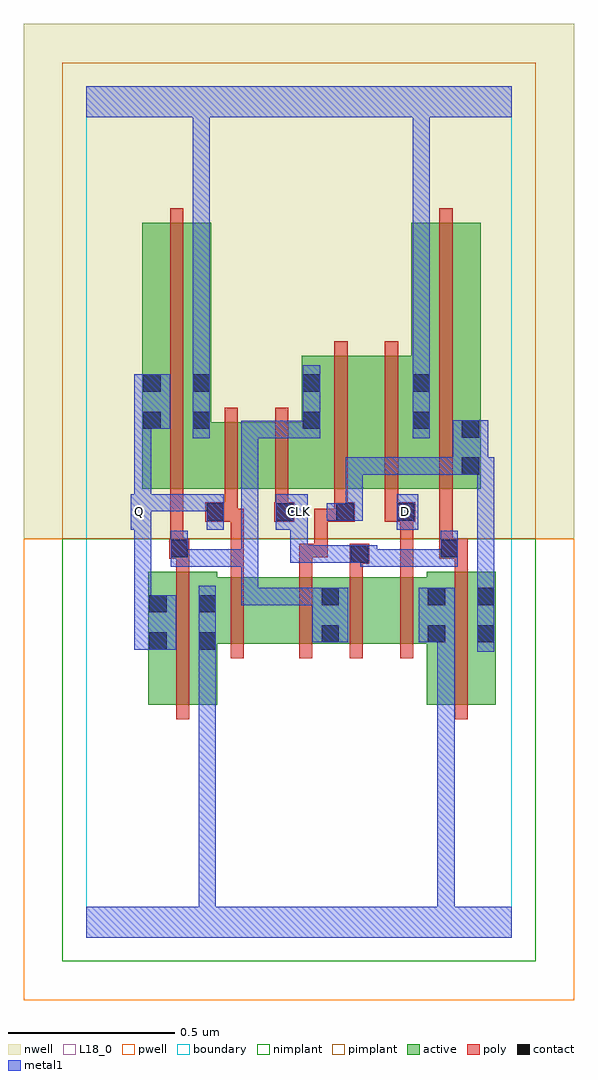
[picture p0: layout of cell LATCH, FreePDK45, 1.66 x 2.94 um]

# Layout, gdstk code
import gdstk
lib = gdstk.Library(unit=1e-6, precision=1e-09)
def R(c, l, rs):  # rectangles x0, y0, x1, y1
    for r in rs: c.add(gdstk.rectangle(r[:2], r[2:], *l))
def A(c, l, x, y, w, h, nx, ny, dx, dy):  # array of equal rectangles
    R(c, l, [(x+i*dx, y+j*dy, x+i*dx+w, y+j*dy+h) for i in range(nx) for j in range(ny)])
active = (1, 0)
pwell = (2, 0)
nwell = (3, 0)
nimplant = (4, 0)
pimplant = (5, 0)
poly = (9, 0)
contact = (10, 0)
metal1 = (11, 0)
L18_0 = (18, 0)
boundary = (235, 0)

latch = lib.new_cell('LATCH')
R(latch, active, [(0.186,0.7,0.394,1.1), (0.334,0.7,0.394,1.084), (1.024,0.7,1.232,1.1), (1.024,0.7,1.084,1.084), (0.186,0.756,0.246,1.1), (1.172,0.756,1.232,1.1), (0.334,0.884,0.53,1.084), (0.53,0.884,0.764,1.084), (0.704,0.884,0.888,1.084), (0.704,0.884,0.764,1.084), (0.888,0.884,1.084,1.084), (0.168,1.35,0.228,2.044), (0.168,1.35,0.376,2.15), (0.316,1.35,0.512,1.55), (0.316,1.35,0.376,2.15), (0.512,1.35,0.708,1.55), (0.648,1.35,0.708,1.698), (0.648,1.35,0.842,1.75), (0.842,1.35,1.038,1.75), (0.978,1.35,1.186,2.15), (0.978,1.35,1.038,1.698), (1.126,1.35,1.186,2.044)])
R(latch, pwell, [(-0.188,-0.188,1.468,1.2)])
R(latch, nwell, [(-0.188,1.2,1.468,2.748)])
R(latch, nimplant, [(-0.072,-0.072,1.352,1.2)])
R(latch, pimplant, [(-0.072,1.2,1.352,2.632)])
A(latch, poly, 0.64, 0.84, 0.04, 0.288, 3, 1, 0.152, 0)
R(latch, poly, [(0.27,0.656,0.31,1.144), (1.108,0.656,1.148,1.144), (0.434,0.84,0.474,1.128), (0.434,1.088,0.474,1.29), (0.64,1.088,0.68,1.184), (0.792,1.088,0.832,1.164), (0.944,1.088,0.984,1.29), (0.27,1.104,0.31,1.18), (1.108,1.104,1.148,1.18), (0.792,1.124,0.852,1.184), (0.25,1.14,0.31,1.2), (1.062,1.14,1.148,1.2), (0.64,1.144,0.68,1.184), (0.64,1.144,0.726,1.184), (0.686,1.144,0.726,1.184), (0.686,1.144,0.726,1.29), (0.252,1.16,0.292,1.346), (0.252,1.16,0.292,1.2), (0.252,1.16,0.292,1.2), (1.062,1.16,1.102,1.346), (1.062,1.16,1.102,1.2), (1.062,1.16,1.102,1.2), (0.358,1.25,0.456,1.31), (0.416,1.25,0.456,1.29), (0.416,1.25,0.474,1.29), (0.566,1.25,0.626,1.31), (0.686,1.25,0.726,1.29), (0.686,1.25,0.786,1.29), (0.746,1.25,0.808,1.31), (0.898,1.25,0.99,1.31), (0.944,1.25,0.984,1.29), (0.944,1.25,0.984,1.29), (0.416,1.27,0.456,1.346), (0.568,1.27,0.608,1.346), (0.746,1.27,0.786,1.346), (0.898,1.27,0.938,1.346), (0.252,1.306,0.292,2.194), (0.416,1.306,0.456,1.594), (0.568,1.306,0.608,1.594), (0.746,1.306,0.786,1.794), (0.898,1.306,0.938,1.794), (1.062,1.306,1.102,2.194)])
A(latch, contact, 0.57, 1.254, 0.052, 0.052, 3, 1, 0.182, 0)
R(latch, contact, [(0.19,0.866,0.242,0.918), (0.338,0.866,0.39,0.918), (0.708,0.888,0.76,0.94), (1.028,0.888,1.08,0.94), (1.176,0.888,1.228,0.94), (0.19,0.978,0.242,1.03), (0.338,0.978,0.39,1.03), (0.708,1,0.76,1.052), (1.028,1,1.08,1.052), (1.176,1,1.228,1.052), (0.796,1.128,0.848,1.18), (0.254,1.144,0.306,1.196), (1.066,1.144,1.118,1.196), (0.362,1.254,0.414,1.306), (1.13,1.392,1.182,1.444), (1.13,1.504,1.182,1.556), (0.172,1.53,0.224,1.582), (0.32,1.53,0.372,1.582), (0.652,1.53,0.704,1.582), (0.982,1.53,1.034,1.582), (0.172,1.642,0.224,1.694), (0.32,1.642,0.372,1.694), (0.652,1.642,0.704,1.694), (0.982,1.642,1.034,1.694)])
R(latch, metal1, [(0,0,1.28,0.092), (0.338,0.04,0.39,0.092), (0.338,0.04,0.39,0.092), (0.338,0.04,0.39,0.092), (0.338,0.04,0.39,0.092), (0.338,0.04,0.39,0.092), (0.338,0.04,0.39,0.092), (0.338,0.04,0.39,0.092), (0.338,0.04,0.39,0.092), (0.338,0.04,0.39,0.092), (0.338,0.04,0.39,0.092), (0.338,0.04,0.39,0.89), (1.056,0.04,1.108,0.092), (1.056,0.04,1.108,0.092), (1.056,0.04,1.108,0.092), (1.056,0.04,1.108,0.092), (1.056,0.04,1.108,0.092), (1.056,0.04,1.108,0.092), (1.056,0.04,1.108,0.092), (1.056,0.04,1.108,0.092), (1.056,0.04,1.108,0.092), (1.056,0.04,1.108,0.092), (1.056,0.04,1.108,0.092), (1.056,0.04,1.108,0.092), (1.056,0.04,1.108,0.94), (0.338,0.838,0.39,0.89), (0.338,0.838,0.39,0.89), (0.338,0.838,0.39,1.058), (1.176,0.86,1.228,1.08), (0.144,0.866,0.27,1.03), (0.68,0.888,0.788,1.052), (1,0.888,1.108,1.052), (0.144,0.978,0.196,1.278), (0.466,1,0.518,1.052), (0.466,1,0.622,1.052), (0.466,1,0.518,1.168), (0.57,1,0.622,1.052), (0.57,1,0.732,1.052), (1.176,1.028,1.228,1.444), (0.254,1.116,0.306,1.168), (0.254,1.116,0.306,1.168), (0.254,1.116,0.306,1.224), (0.254,1.116,0.512,1.168), (0.46,1.116,0.512,1.168), (0.46,1.116,0.512,1.168), (0.46,1.116,0.518,1.168), (0.466,1.116,0.518,1.168), (0.466,1.116,0.518,1.168), (0.466,1.116,0.518,1.554), (0.824,1.116,0.986,1.168), (0.824,1.116,0.876,1.18), (0.934,1.116,0.986,1.168), (0.934,1.116,0.986,1.168), (0.934,1.116,0.986,1.168), (0.934,1.116,1.118,1.168), (1.066,1.116,1.118,1.224), (0.614,1.128,0.666,1.18), (0.614,1.128,0.82,1.18), (0.614,1.128,0.666,1.278), (0.768,1.128,0.876,1.18), (0.824,1.128,0.876,1.18), (0.134,1.226,0.196,1.334), (0.362,1.226,0.414,1.334), (0.57,1.226,0.666,1.334), (0.614,1.226,0.666,1.278), (0.614,1.226,0.666,1.278), (0.934,1.226,0.998,1.334), (0.724,1.254,0.832,1.306), (0.78,1.254,0.832,1.306), (0.78,1.254,0.832,1.306), (0.78,1.254,0.832,1.444), (0.144,1.282,0.196,1.334), (0.144,1.282,0.196,1.334), (0.144,1.282,0.196,1.334), (0.144,1.282,0.196,1.334), (0.144,1.282,0.306,1.334), (0.144,1.282,0.196,1.582), (0.254,1.282,0.306,1.334), (0.254,1.282,0.414,1.334), (0.78,1.392,0.832,1.444), (0.78,1.392,0.986,1.444), (0.934,1.392,0.986,1.444), (0.934,1.392,0.986,1.444), (0.934,1.392,0.986,1.444), (0.934,1.392,1.154,1.444), (1.102,1.392,1.154,1.444), (1.102,1.392,1.154,1.444), (1.102,1.392,1.21,1.556), (1.158,1.392,1.21,1.444), (1.158,1.392,1.228,1.444), (1.176,1.392,1.228,1.444), (1.176,1.392,1.228,1.444), (0.32,1.502,0.372,1.722), (0.466,1.502,0.518,1.554), (0.466,1.502,0.622,1.554), (0.57,1.502,0.622,1.554), (0.57,1.502,0.704,1.554), (0.652,1.502,0.704,1.722), (0.982,1.502,1.034,1.722), (0.144,1.53,0.252,1.694), (0.32,1.67,0.372,1.722), (0.32,1.67,0.372,1.722), (0.32,1.67,0.372,1.722), (0.32,1.67,0.372,1.722), (0.32,1.67,0.372,1.722), (0.32,1.67,0.372,1.722), (0.32,1.67,0.372,1.722), (0.32,1.67,0.372,1.722), (0.32,1.67,0.372,2.52), (0.982,1.67,1.034,1.722), (0.982,1.67,1.034,1.722), (0.982,1.67,1.034,1.722), (0.982,1.67,1.034,1.722), (0.982,1.67,1.034,2.52), (0,2.468,1.28,2.56), (0.982,2.468,1.034,2.52), (0.982,2.468,1.034,2.52), (0.982,2.468,1.034,2.52), (0.982,2.468,1.034,2.52)])
R(latch, L18_0, [(0,0,1.28,0.092), (0.338,0.04,0.39,0.092), (0.338,0.04,0.39,0.092), (0.338,0.04,0.39,0.092), (0.338,0.04,0.39,0.092), (0.338,0.04,0.39,0.092), (0.338,0.04,0.39,0.092), (0.338,0.04,0.39,0.092), (0.338,0.04,0.39,0.092), (0.338,0.04,0.39,0.092), (0.338,0.04,0.39,0.092), (0.338,0.04,0.39,0.89), (1.056,0.04,1.108,0.092), (1.056,0.04,1.108,0.092), (1.056,0.04,1.108,0.092), (1.056,0.04,1.108,0.092), (1.056,0.04,1.108,0.092), (1.056,0.04,1.108,0.092), (1.056,0.04,1.108,0.092), (1.056,0.04,1.108,0.092), (1.056,0.04,1.108,0.092), (1.056,0.04,1.108,0.092), (1.056,0.04,1.108,0.092), (1.056,0.04,1.108,0.092), (1.056,0.04,1.108,0.94), (0.338,0.838,0.39,0.89), (0.338,0.838,0.39,0.89), (0.338,0.838,0.39,1.058), (0.144,0.866,0.27,1.03), (1,0.888,1.108,1.052), (0.144,0.978,0.196,1.278), (0.824,1.116,0.986,1.168), (0.824,1.116,0.876,1.18), (0.934,1.116,0.986,1.168), (0.934,1.116,0.986,1.168), (0.934,1.116,0.986,1.168), (0.934,1.116,1.118,1.168), (1.066,1.116,1.118,1.224), (0.614,1.128,0.666,1.18), (0.614,1.128,0.666,1.278), (0.614,1.128,0.82,1.18), (0.768,1.128,0.876,1.18), (0.824,1.128,0.876,1.18), (0.134,1.226,0.196,1.334), (0.362,1.226,0.414,1.334), (0.57,1.226,0.666,1.334), (0.614,1.226,0.666,1.278), (0.614,1.226,0.666,1.278), (0.934,1.226,0.998,1.334), (0.134,1.254,0.186,1.306), (0.614,1.254,0.666,1.306), (0.934,1.254,0.986,1.306), (0.144,1.282,0.196,1.582), (0.144,1.282,0.196,1.334), (0.144,1.282,0.196,1.334), (0.144,1.282,0.196,1.334), (0.144,1.282,0.196,1.334), (0.144,1.282,0.306,1.334), (0.254,1.282,0.306,1.334), (0.254,1.282,0.414,1.334), (0.32,1.502,0.372,1.722), (0.982,1.502,1.034,1.722), (0.144,1.53,0.252,1.694), (0.32,1.67,0.372,1.722), (0.32,1.67,0.372,1.722), (0.32,1.67,0.372,1.722), (0.32,1.67,0.372,1.722), (0.32,1.67,0.372,1.722), (0.32,1.67,0.372,1.722), (0.32,1.67,0.372,1.722), (0.32,1.67,0.372,1.722), (0.32,1.67,0.372,2.52), (0.982,1.67,1.034,1.722), (0.982,1.67,1.034,1.722), (0.982,1.67,1.034,1.722), (0.982,1.67,1.034,1.722), (0.982,1.67,1.034,2.52), (0,2.468,1.28,2.56), (0.982,2.468,1.034,2.52), (0.982,2.468,1.034,2.52), (0.982,2.468,1.034,2.52), (0.982,2.468,1.034,2.52)])
R(latch, boundary, [(0,0,1.28,2.56)])
latch.add(gdstk.Label('CLK', (0.64,1.28), layer=11, texttype=0))
latch.add(gdstk.Label('D', (0.96,1.28), layer=11, texttype=0))
latch.add(gdstk.Label('Q', (0.16,1.28), layer=11, texttype=0))

lib.write_gds('LATCH.gds')
